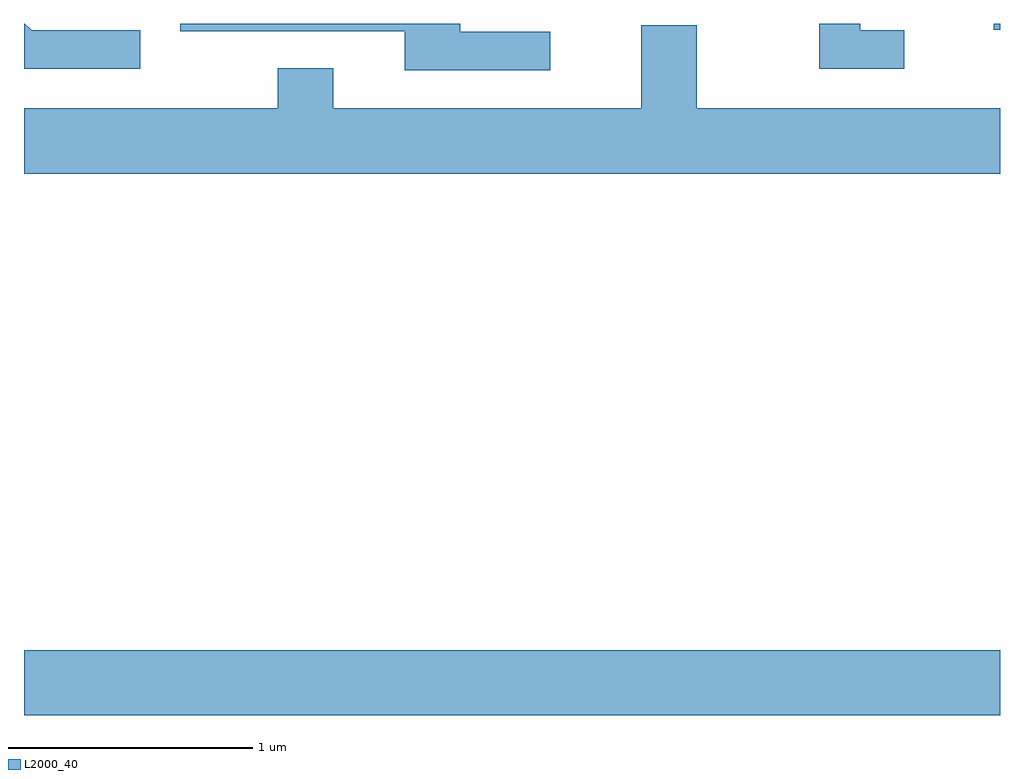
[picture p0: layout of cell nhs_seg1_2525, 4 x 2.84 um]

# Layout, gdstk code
import gdstk
lib = gdstk.Library(unit=1e-6, precision=1e-09)
def R(c, l, rs):  # rectangles x0, y0, x1, y1
    for r in rs: c.add(gdstk.rectangle(r[:2], r[2:], *l))
def P(c, l, *ps):  # polygons
    for p in ps: c.add(gdstk.Polygon(p, *l))
L2000_40 = (2000, 40)

nhs_seg1_2525 = lib.new_cell('nhs_seg1_2525')
R(nhs_seg1_2525, L2000_40, [(261.611,932.876,265.611,933.144), (265.586,935.686,265.611,935.712)])
P(nhs_seg1_2525, L2000_40, [(262.087,935.684),(261.642,935.684),(261.614,935.712),(261.611,935.712),(261.611,935.526),(262.087,935.526)],
  [(263.768,935.679),(263.399,935.679),(263.399,935.712),(262.251,935.712),(262.251,935.681),(263.171,935.681),(263.171,935.521),(263.768,935.521)],
  [(265.218,935.684),(265.039,935.684),(265.039,935.712),(264.871,935.712),(264.871,935.526),(265.218,935.526)],
  [(265.611,935.364),(264.369,935.364),(264.369,935.704),(264.141,935.704),(264.141,935.364),(262.879,935.364),(262.879,935.529),(262.651,935.529),(262.651,935.364),(261.611,935.364),(261.611,935.096),(265.611,935.096)])

lib.write_gds('nhs_seg1_2525.gds')
